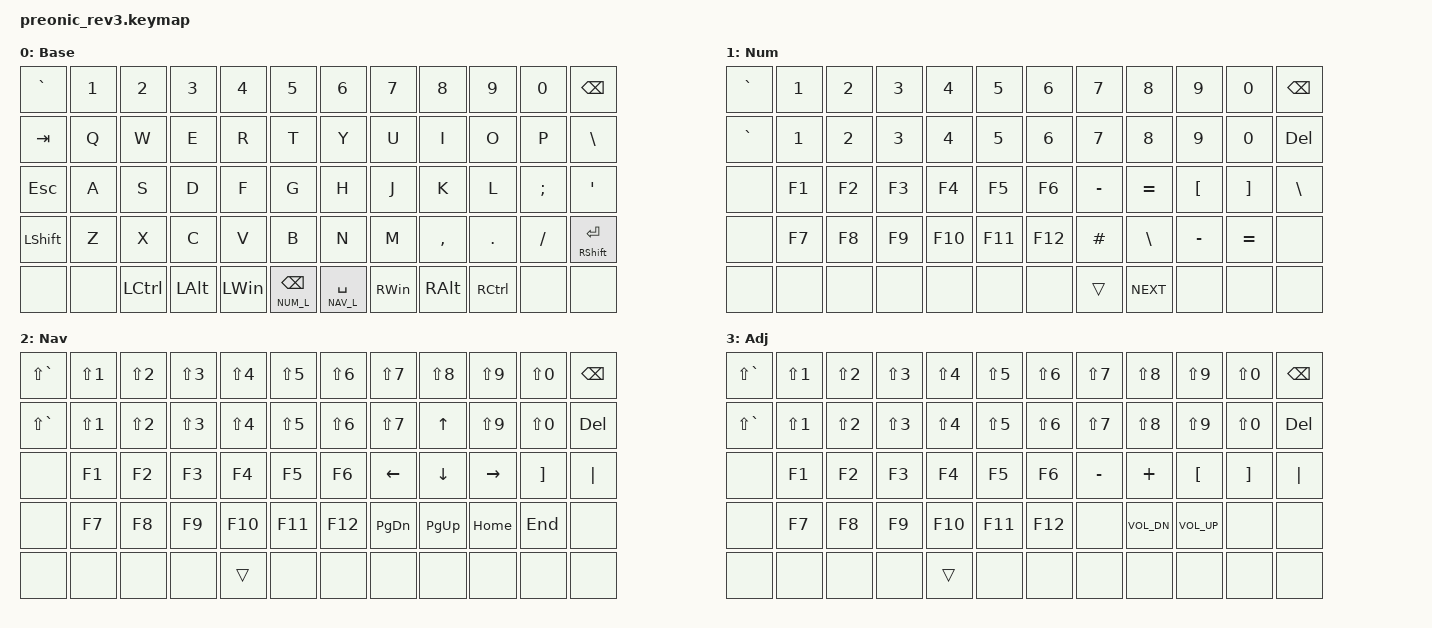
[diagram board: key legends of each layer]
/*
 * Copyright (c) 2022 The ZMK Contributors
 *
 * SPDX-License-Identifier: MIT
 */

#include <behaviors.dtsi>
#include <dt-bindings/zmk/keys.h>
#include <dt-bindings/zmk/bt.h>

#define BAS_L 0
#define NUM_L 1
#define NAV_L 2
#define ADJ_L 3

// Using layer taps on thumbs, having quick tap as well helps w/ repeating space/backspace
&lt { quick_tap_ms = <200>; };


/ {
    chosen { zmk,matrix-transform = &layout_grid_transform; };

    conditional_layers {
        compatible = "zmk,conditional-layers";
	    tri_layer {
	        if-layers = <NAV_L NUM_L>;
	        then-layer = <ADJ_L>;
	    };
    };
    
    keymap {
        compatible = "zmk,keymap";
        default_layer {
//  -------------------------------------------------------------------------------------------------------------------------
// |  GRAV   |    1    |    2     |    3    |    4    |    5    |    6    |    7    |    8    |    9    |    0    |   BSPC  |
// |  TAB    |    Q    |    W     |    E    |    R    |    T    |    Y    |    U    |    I    |    O    |    P    |   BSLH  |
// |  ESC    |    A    |    S     |    D    |    F    |    G    |    H    |    J    |    K    |    L    |    ;    |   '     |
// | SHIFT   |    Z    |    X     |    C    |    V    |    B    |    N    |    M    |    ,    |    .    |    /    |  SFT_RT |
// |         |         |   LCTL   |   LATL  |  LWIN   |BSPC/NUM | SPC/NAV |   RWIN  |   RALT  |   RCTL  |         |         |
            label = "Base";
            bindings = <
 &kp GRAVE  &kp N1     &kp N2     &kp N3    &kp N4    &kp N5         &kp N6          &kp N7    &kp N8      &kp N9     &kp N0    &kp BSPC
 &kp TAB    &kp Q      &kp W      &kp E     &kp R     &kp T          &kp Y           &kp U     &kp I       &kp O      &kp P     &kp BSLH
 &kp ESC    &kp A      &kp S      &kp D     &kp F     &kp G          &kp H           &kp J     &kp K       &kp L      &kp SEMI  &kp QUOT
 &kp LSHFT  &kp Z      &kp X      &kp C     &kp V     &kp B          &kp N           &kp M     &kp COMMA   &kp DOT    &kp FSLH  &mt RSHIFT RET
 &none      &none      &kp LCTRL  &kp LALT  &kp LWIN  &lt NUM_L BKSP &lt NAV_L SPACE &kp RWIN  &kp RALT    &kp RCTRL  &none     &none
                >;
        };
        num_layer {
//  -------------------------------------------------------------------------------------------------------------------------
// |  GRAV   |    1    |    2     |    3    |    4    |    5    |    6    |    7    |    8    |    9    |    0    |   BSPC  |
// |  GRAV   |    1    |    2     |    3    |    4    |    5    |    6    |    7    |    8    |    9    |    0    |   DEL   |
// |         |    F1   |    F2    |    F3   |    F4   |    F5   |    F6   |    -    |    =    |    [    |    ]    |    \    |
// |         |    F7   |    F8    |    F9   |    F10  |    F11  |    F12  |    #    |    \    |    -    |    =    |         |
// |         |         |          |         |         |         |    *    |         |         |         |         |         |
            label = "Num";
            bindings = <
 &kp GRAVE  &kp N1  &kp N2  &kp N3  &kp N4   &kp N5      &kp N6   &kp N7     &kp N8        &kp N9            &kp N0             &kp BSPC
 &kp GRAVE  &kp N1  &kp N2  &kp N3  &kp N4   &kp N5      &kp N6   &kp N7     &kp N8        &kp N9            &kp N0             &kp DEL
 &none      &kp F1  &kp F2  &kp F3  &kp F4   &kp F5      &kp F6   &kp MINUS  &kp EQUAL     &kp LEFT_BRACKET  &kp RIGHT_BRACKET  &kp BSLH
 &none      &kp F7  &kp F8  &kp F9  &kp F10  &kp F11     &kp F12  &kp HASH   &kp BSLH      &kp MINUS         &kp EQUAL          &none
 &none      &none   &none   &none   &none    &none       &none    &trans     &kp C_NEXT    &none             &none              &none
                >;
        };
        nav_layer {
//  -------------------------------------------------------------------------------------------------------------------------
// |  TILDE  |    !    |    @     |    #    |    $    |    %    |    ^    |    &    |    *    |    (    |    )    |   BSPC  |
// |  TILDE  |    !    |    @     |    #    |    $    |    %    |    ^    |    &    |    UP   |    (    |    )    |   DEL   |
// |         |    F1   |    F2    |    F3   |    F4   |    F5   |    F6   |   LEFT  |   DOWN  |  RIGHT  |    ]    |    |    |
// |         |    F7   |    F8    |    F9   |    F10  |    F11  |    F12  |  PG_DN  |  PG_UP  |   HOME  |  END    |         |
// |         |         |          |         |         |         |    *    |         |         |         |         |         |
            label = "Nav";
            bindings = <
 &kp LS(GRAVE)  &kp LS(N1)  &kp LS(N2)  &kp LS(N3)  &kp LS(N4)  &kp LS(N5)  &kp LS(N6)  &kp LS(N7)  &kp LS(N8)  &kp LS(N9)        &kp LS(N0)         &kp BSPC
 &kp LS(GRAVE)  &kp LS(N1)  &kp LS(N2)  &kp LS(N3)  &kp LS(N4)  &kp LS(N5)  &kp LS(N6)  &kp LS(N7)  &kp UP      &kp LS(N9)        &kp LS(N0)         &kp DEL
 &none          &kp F1      &kp F2      &kp F3      &kp F4      &kp F5      &kp F6      &kp LEFT    &kp DOWN    &kp RIGHT         &kp RIGHT_BRACKET  &kp PIPE
 &none          &kp F7      &kp F8      &kp F9      &kp F10     &kp F11     &kp F12     &kp PG_DN   &kp PG_UP   &kp HOME          &kp END            &none
 &none          &none       &none       &none       &trans      &none       &none       &none       &none       &none             &none              &none
                >;
        };
        adj_layer {
//  -------------------------------------------------------------------------------------------------------------------------
// |  TILDE  |    !    |    @     |    #    |    $    |    %    |    ^    |    &    |    *    |    (    |    )    |   BSPC  |
// |  TILDE  |    !    |    @     |    #    |    $    |    %    |    ^    |    &    |    *    |    (    |    )    |   DEL   |
// |         |    F1   |    F2    |    F3   |    F4   |    F5   |    F6   |    -    |    +    |    [    |    ]    |    |    |
// |         |    F7   |    F8    |    F9   |    F10  |   F11   |    F12  |         |  VOL-   |   VOL+  |         |         |
// |         |         |          |         |         |   n/a   |   n/a   |         |         |         |         |         |
            label = "Adj";
            bindings = <
 &kp LS(GRAVE)  &kp LS(N1)  &kp LS(N2)  &kp LS(N3)  &kp LS(N4)  &kp LS(N5)  &kp LS(N6)  &kp LS(N7)  &kp LS(N8)  &kp LS(N9)        &kp LS(N0)         &kp BSPC
 &kp LS(GRAVE)  &kp LS(N1)  &kp LS(N2)  &kp LS(N3)  &kp LS(N4)  &kp LS(N5)  &kp LS(N6)  &kp LS(N7)  &kp LS(N8)  &kp LS(N9)        &kp LS(N0)         &kp DEL
 &none          &kp F1      &kp F2      &kp F3      &kp F4      &kp F5      &kp F6      &kp MINUS   &kp PLUS    &kp LEFT_BRACKET  &kp RIGHT_BRACKET  &kp PIPE
 &none          &kp F7      &kp F8      &kp F9      &kp F10     &kp F11     &kp F12     &none       &kp C_VOL_DN  &kp C_VOL_UP    &none              &none
 &none          &none       &none       &none       &trans      &none       &none       &none       &none       &none             &none              &none
                >;
	};
    };
};
